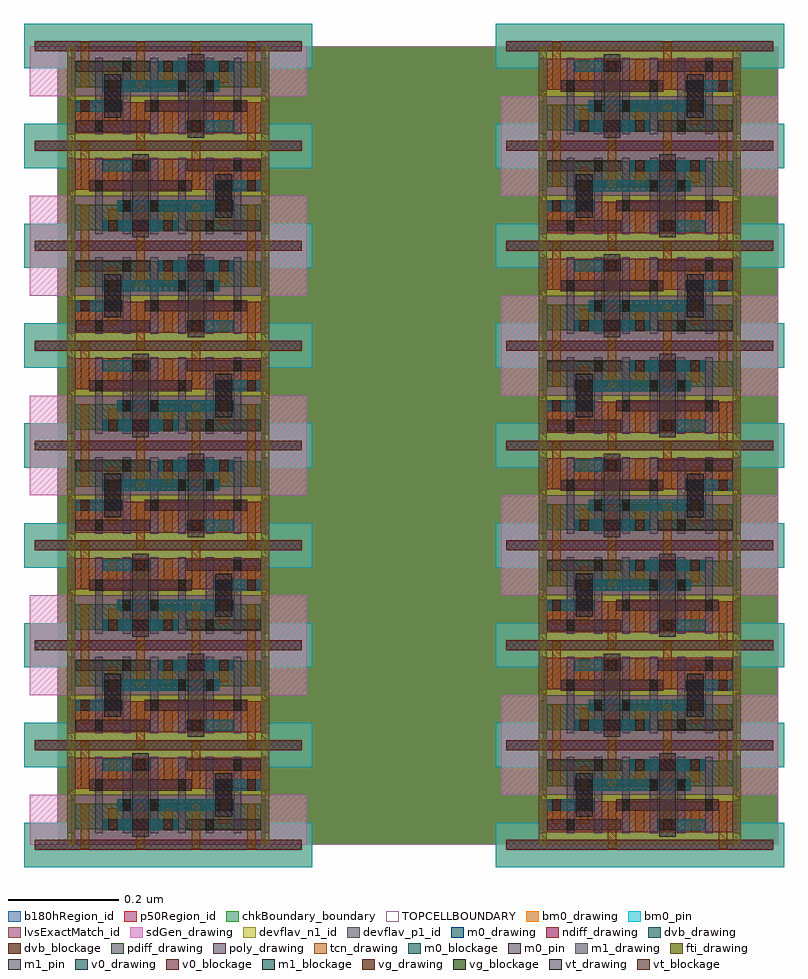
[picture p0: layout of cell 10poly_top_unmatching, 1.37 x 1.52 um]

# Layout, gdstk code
from math import pi, radians
import gdstk
lib = gdstk.Library(unit=1e-6, precision=5e-10)
def R(c, l, rs):  # rectangles x0, y0, x1, y1
    for r in rs: c.add(gdstk.rectangle(r[:2], r[2:], *l))
def A(c, l, x, y, w, h, nx, ny, dx, dy):  # array of equal rectangles
    R(c, l, [(x+i*dx, y+j*dy, x+i*dx+w, y+j*dy+h) for i in range(nx) for j in range(ny)])
ndiff_drawing = (1, 0)
poly_drawing = (2, 0)
m1_drawing = (4, 0)
m1_blockage = (4, 1)
m1_pin = (4, 2)
tcn_drawing = (5, 0)
pdiff_drawing = (8, 0)
sdGen_drawing = (11, 0)
vt_drawing = (31, 0)
vt_blockage = (31, 1)
vg_drawing = (32, 0)
vg_blockage = (32, 1)
chkBoundary_boundary = (50, 0)
TOPCELLBOUNDARY = (50, 99)
m0_drawing = (55, 0)
m0_blockage = (55, 1)
m0_pin = (55, 2)
v0_drawing = (56, 0)
v0_blockage = (56, 1)
lvsExactMatch_id = (81, 434)
b180hRegion_id = (82, 137)
p50Region_id = (82, 420)
fti_drawing = (184, 0)
devflav_n1_id = (273, 102)
devflav_p1_id = (273, 103)
bm0_drawing = (366, 0)
bm0_pin = (366, 2)
dvb_drawing = (474, 0)
dvb_blockage = (474, 1)

ibmaob012ab1n04x5 = lib.new_cell('ibmaob012ab1n04x5')
R(ibmaob012ab1n04x5, ndiff_drawing, [(0.007,0.023,0.343,0.079)])
A(ibmaob012ab1n04x5, poly_drawing, 0.043, 0.021, 0.014, 0.138, 6, 1, 0.05, 0)
R(ibmaob012ab1n04x5, poly_drawing, [(-0.007,0.021,0.007,0.081), (0.343,0.021,0.357,0.081), (-0.007,0.099,0.007,0.159), (0.343,0.099,0.357,0.159)])
R(ibmaob012ab1n04x5, m1_drawing, [(0.21,0.015,0.24,0.165), (0.06,0.051,0.09,0.129)])
R(ibmaob012ab1n04x5, m1_blockage, [(0.06,0.051,0.09,0.129)])
R(ibmaob012ab1n04x5, m1_pin, [(0.21,0.015,0.24,0.165)])
A(ibmaob012ab1n04x5, tcn_drawing, 0.017, 0.106, 0.016, 0.081, 4, 1, 0.1, 0)
R(ibmaob012ab1n04x5, tcn_drawing, [(0.117,-0.007,0.133,0.079), (0.317,-0.007,0.333,0.079), (0.217,0.023,0.233,0.079), (0.167,0.024,0.183,0.064), (0.267,0.024,0.283,0.064), (0.017,0.038,0.033,0.082), (0.067,0.038,0.083,0.078), (0.067,0.098,0.083,0.142), (0.167,0.114,0.183,0.154), (0.267,0.114,0.283,0.154)])
R(ibmaob012ab1n04x5, pdiff_drawing, [(0.007,0.106,0.343,0.152)])
R(ibmaob012ab1n04x5, sdGen_drawing, [(-0.075,0.09,0.425,0.18)])
R(ibmaob012ab1n04x5, vt_drawing, [(0.217,0.026,0.233,0.046), (0.017,0.062,0.033,0.082), (0.067,0.098,0.083,0.118), (0.167,0.134,0.183,0.154), (0.267,0.134,0.283,0.154)])
R(ibmaob012ab1n04x5, vt_blockage, [(0.217,0.026,0.233,0.046), (0.017,0.062,0.033,0.082), (0.067,0.098,0.083,0.118), (0.167,0.134,0.183,0.154), (0.267,0.134,0.283,0.154)])
R(ibmaob012ab1n04x5, vg_drawing, [(0.043,0.026,0.057,0.046), (0.143,0.062,0.157,0.082), (0.293,0.062,0.307,0.082), (0.193,0.098,0.207,0.118), (0.243,0.098,0.257,0.118), (0.093,0.134,0.107,0.154)])
R(ibmaob012ab1n04x5, vg_blockage, [(0.043,0.026,0.057,0.046), (0.143,0.062,0.157,0.082), (0.293,0.062,0.307,0.082), (0.193,0.098,0.207,0.118), (0.243,0.098,0.257,0.118), (0.093,0.134,0.107,0.154)])
R(ibmaob012ab1n04x5, chkBoundary_boundary, [(0,0,0.35,0.18)])
R(ibmaob012ab1n04x5, m0_drawing, [(0.008,0.026,0.142,0.046), (0.208,0.026,0.292,0.046), (0.008,0.062,0.092,0.082), (0.133,0.062,0.317,0.082), (0.058,0.098,0.267,0.118), (0.008,0.134,0.142,0.154), (0.158,0.134,0.292,0.154)])
R(ibmaob012ab1n04x5, m0_blockage, [(0.208,0.026,0.292,0.046), (0.008,0.062,0.092,0.082), (0.058,0.098,0.267,0.118), (0.158,0.134,0.292,0.154)])
R(ibmaob012ab1n04x5, m0_pin, [(0.008,0.026,0.142,0.046), (0.133,0.062,0.317,0.082), (0.008,0.134,0.142,0.154)])
R(ibmaob012ab1n04x5, v0_drawing, [(0.21,0.026,0.24,0.046), (0.06,0.062,0.09,0.118), (0.21,0.134,0.24,0.154)])
R(ibmaob012ab1n04x5, v0_blockage, [(0.21,0.026,0.24,0.046), (0.06,0.062,0.09,0.118), (0.21,0.134,0.24,0.154)])
R(ibmaob012ab1n04x5, lvsExactMatch_id, [(0,0,0.35,0.18)])
R(ibmaob012ab1n04x5, b180hRegion_id, [(-0.025,0,0.375,0.18)])
R(ibmaob012ab1n04x5, p50Region_id, [(-0.025,0,0.375,0.18)])
R(ibmaob012ab1n04x5, fti_drawing, [(-0.007,0,0.007,0.18), (0.343,0,0.357,0.18)])
R(ibmaob012ab1n04x5, devflav_n1_id, [(0,0,0.35,0.09)])
R(ibmaob012ab1n04x5, devflav_p1_id, [(0,0.09,0.35,0.18)])
R(ibmaob012ab1n04x5, bm0_drawing, [(-0.085,-0.04,0.435,0.04), (-0.085,0.14,0.435,0.22)])
R(ibmaob012ab1n04x5, bm0_pin, [(-0.085,-0.04,0.435,0.04), (-0.085,0.14,0.435,0.22)])
R(ibmaob012ab1n04x5, dvb_drawing, [(-0.0655,-0.009,0.4155,0.009), (-0.0655,0.171,0.4155,0.189)])
R(ibmaob012ab1n04x5, dvb_blockage, [(-0.0655,-0.009,0.4155,0.009), (-0.0655,0.171,0.4155,0.189)])
ibmaob012ab1n04x5.add(gdstk.Label('out0', (0.225,0.09), layer=4, texttype=0))
ibmaob012ab1n04x5.add(gdstk.Label('out0', (0.225,0.09), layer=4, texttype=0))
ibmaob012ab1n04x5.add(gdstk.Label('n1', (0.075,0.09), layer=4, texttype=0))
ibmaob012ab1n04x5.add(gdstk.Label('c', (0.1,0.09), layer=2, texttype=0))
ibmaob012ab1n04x5.add(gdstk.Label('a', (0.15,0.09), layer=2, texttype=0))
ibmaob012ab1n04x5.add(gdstk.Label('n1', (0.2,0.09), layer=2, texttype=0))
ibmaob012ab1n04x5.add(gdstk.Label('n1', (0.25,0.09), layer=2, texttype=0))
ibmaob012ab1n04x5.add(gdstk.Label('a', (0.3,0.09), layer=2, texttype=0))
ibmaob012ab1n04x5.add(gdstk.Label('b', (0.05,0.09), layer=2, texttype=0))
ibmaob012ab1n04x5.add(gdstk.Label('out0', (0.225,0.09), layer=4, texttype=2))
ibmaob012ab1n04x5.add(gdstk.Label('vssx', (0.125,0.036), layer=5, texttype=0))
ibmaob012ab1n04x5.add(gdstk.Label('out0', (0.225,0.051), layer=5, texttype=0))
ibmaob012ab1n04x5.add(gdstk.Label('vssx', (0.325,0.036), layer=5, texttype=0))
ibmaob012ab1n04x5.add(gdstk.Label('n1', (0.025,0.06), layer=5, texttype=0))
ibmaob012ab1n04x5.add(gdstk.Label('n1', (0.075,0.12), layer=5, texttype=0))
ibmaob012ab1n04x5.add(gdstk.Label('out0', (0.175,0.134), layer=5, texttype=0))
ibmaob012ab1n04x5.add(gdstk.Label('out0', (0.275,0.134), layer=5, texttype=0))
ibmaob012ab1n04x5.add(gdstk.Label('vcc', (0.325,0.1465), layer=5, texttype=0))
ibmaob012ab1n04x5.add(gdstk.Label('g1|n1b', (0.275,0.044), layer=5, texttype=0))
ibmaob012ab1n04x5.add(gdstk.Label('vcc', (0.225,0.1465), layer=5, texttype=0))
ibmaob012ab1n04x5.add(gdstk.Label('g1|n1a', (0.175,0.044), layer=5, texttype=0))
ibmaob012ab1n04x5.add(gdstk.Label('vcc', (0.125,0.1465), layer=5, texttype=0))
ibmaob012ab1n04x5.add(gdstk.Label('g0|n1', (0.075,0.058), layer=5, texttype=0))
ibmaob012ab1n04x5.add(gdstk.Label('vcc', (0.025,0.1465), layer=5, texttype=0))
ibmaob012ab1n04x5.add(gdstk.Label('c', (0.075,0.144), layer=55, texttype=0))
ibmaob012ab1n04x5.add(gdstk.Label('a', (0.225,0.072), layer=55, texttype=0))
ibmaob012ab1n04x5.add(gdstk.Label('b', (0.075,0.036), layer=55, texttype=0))
ibmaob012ab1n04x5.add(gdstk.Label('n1', (0.05,0.072), layer=55, texttype=0))
ibmaob012ab1n04x5.add(gdstk.Label('n1', (0.1625,0.108), layer=55, texttype=0))
ibmaob012ab1n04x5.add(gdstk.Label('out0', (0.225,0.144), layer=55, texttype=0))
ibmaob012ab1n04x5.add(gdstk.Label('out0', (0.25,0.036), layer=55, texttype=0))
ibmaob012ab1n04x5.add(gdstk.Label('a', (0.225,0.072), layer=55, texttype=0))
ibmaob012ab1n04x5.add(gdstk.Label('c', (0.075,0.144), layer=55, texttype=0))
ibmaob012ab1n04x5.add(gdstk.Label('b', (0.075,0.036), layer=55, texttype=0))
ibmaob012ab1n04x5.add(gdstk.Label('c', (0.075,0.144), layer=55, texttype=2))
ibmaob012ab1n04x5.add(gdstk.Label('a', (0.225,0.072), layer=55, texttype=2))
ibmaob012ab1n04x5.add(gdstk.Label('b', (0.075,0.036), layer=55, texttype=2))
ibmaob012ab1n04x5.add(gdstk.Label('vssx', (0.175,0), layer=366, texttype=0))
ibmaob012ab1n04x5.add(gdstk.Label('vcc', (0.175,0.18), layer=366, texttype=0))
ibmaob012ab1n04x5.add(gdstk.Label('vcc', (0.175,0.18), layer=366, texttype=0))
ibmaob012ab1n04x5.add(gdstk.Label('vssx', (0.175,0), layer=366, texttype=0))
ibmaob012ab1n04x5.add(gdstk.Label('vssx', (0.175,0), layer=366, texttype=2))
ibmaob012ab1n04x5.add(gdstk.Label('vcc', (0.175,0.18), layer=366, texttype=2))

c_10poly_top_unmatching = lib.new_cell('10poly_top_unmatching')
R(c_10poly_top_unmatching, chkBoundary_boundary, [(0,0,1.3,1.44)])
R(c_10poly_top_unmatching, TOPCELLBOUNDARY, [(0,0,1.3,1.44)])
R(c_10poly_top_unmatching, b180hRegion_id, [(0,0,1.3,1.44)])
R(c_10poly_top_unmatching, p50Region_id, [(0,0,1.3,1.44)])
c_10poly_top_unmatching.add(gdstk.Reference(ibmaob012ab1n04x5, (0.025,0.54)))
c_10poly_top_unmatching.add(gdstk.Reference(ibmaob012ab1n04x5, (0.025,0.18)))
c_10poly_top_unmatching.add(gdstk.Reference(ibmaob012ab1n04x5, (0.875,0)))
c_10poly_top_unmatching.add(gdstk.Reference(ibmaob012ab1n04x5, (0.375,0.18), rotation=pi))
c_10poly_top_unmatching.add(gdstk.Reference(ibmaob012ab1n04x5, (1.225,0.36), rotation=pi))
c_10poly_top_unmatching.add(gdstk.Reference(ibmaob012ab1n04x5, (0.875,0.36)))
c_10poly_top_unmatching.add(gdstk.Reference(ibmaob012ab1n04x5, (0.375,0.54), rotation=pi))
c_10poly_top_unmatching.add(gdstk.Reference(ibmaob012ab1n04x5, (1.225,0.72), rotation=pi))
c_10poly_top_unmatching.add(gdstk.Reference(ibmaob012ab1n04x5, (0.025,0.9)))
c_10poly_top_unmatching.add(gdstk.Reference(ibmaob012ab1n04x5, (0.875,0.72)))
c_10poly_top_unmatching.add(gdstk.Reference(ibmaob012ab1n04x5, (0.375,0.9), rotation=pi))
c_10poly_top_unmatching.add(gdstk.Reference(ibmaob012ab1n04x5, (1.225,1.08), rotation=pi))
c_10poly_top_unmatching.add(gdstk.Reference(ibmaob012ab1n04x5, (0.875,1.08)))
c_10poly_top_unmatching.add(gdstk.Reference(ibmaob012ab1n04x5, (0.375,1.26), rotation=pi))
c_10poly_top_unmatching.add(gdstk.Reference(ibmaob012ab1n04x5, (1.225,1.44), rotation=pi))
c_10poly_top_unmatching.add(gdstk.Reference(ibmaob012ab1n04x5, (0.025,1.26)))

lib.write_gds('10poly_top_unmatching.gds')
